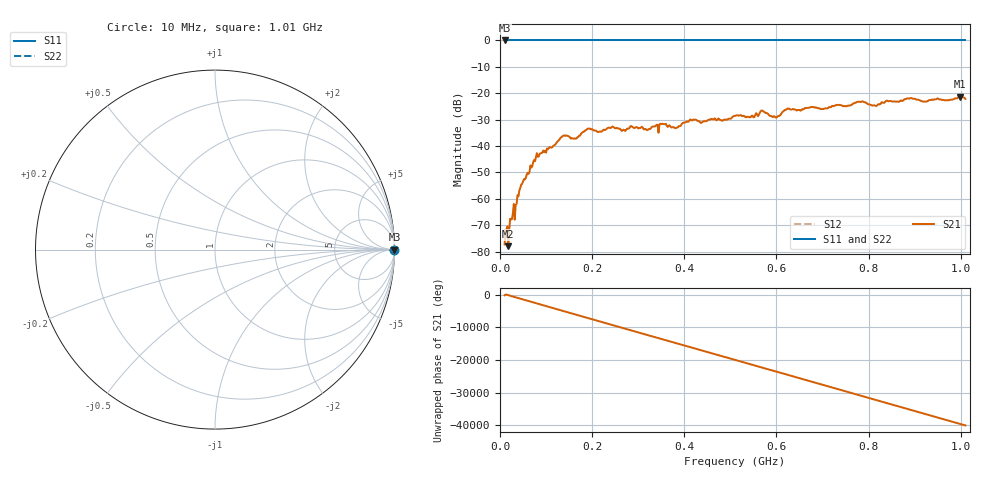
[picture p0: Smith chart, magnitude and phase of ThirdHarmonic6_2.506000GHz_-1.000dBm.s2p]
! 8/17/2025 4:50:29 AM
! C:\ANRITSUVNA\TEMP\TEMP.S2P
! CHANNEL.1
! TR.MEASUREMENT
! RAW.DATA
! RF.CORRECTION.OFF
! AVERAGING.OFF
! IF.BANDWIDTH: 5KHZ
! SWEEPTYPE:  FREQ.SWEEP(Linear)
! Reference Plane Port Info
! PORT:  PORT1  PORT2
! DISTANCE:  0  m  0  m
! TIME:  0  s  0  s
! PHASE.OFFSET:  0  deg.  0  deg.
! LOSS:  0  dB  0  dB
! REF.LOSS:  0  dB  0  dB
! REF.FREQ:  0  Hz  0  Hz
! Power Info
! POWER:  -20  dBm  -20  dBm
! EFF.POWER:  -20  dBm  -20  dBm
! SOURCE.ATTEN:  0  dB  0  dB
! TEST.ATTEN:  0  dB  0  dB
# GHZ S RI R 50.0
! FREQ.GHZ  S11RE  S11IM  S21RE  S21IM  S12RE  S12IM  S22RE  S22IM
!; PortSelection: Port_12
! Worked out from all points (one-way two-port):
!   501 points, 10 MHz to 1.01 GHz, reference 50 ohm
!   highest |S21| = -21.29 dB at 998 MHz (marker M1); lowest = -77.9 dB at 18 MHz (marker M2)
!   lowest |S11| = 0.0 dB at 10 MHz (marker M3)
!   |S11| at or under -10 dB: nowhere
!   |S22| runs from 0.0 to 0.0 dB; largest |S21 - S12| = 1.1
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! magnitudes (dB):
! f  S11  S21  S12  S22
! 10 MHz  0.0  -77.3  0.0  0.0
! 18 MHz  0.0  -77.9  0.0  0.0
! 46 MHz  0.0  -54.6  0.0  0.0
! 76 MHz  0.0  -45.8  0.0  0.0
! 136 MHz  0.0  -36.2  0.0  0.0
! 162 MHz  0.0  -37.1  0.0  0.0
! 178 MHz  0.0  -34.9  0.0  0.0
! 192 MHz  0.0  -33.3  0.0  0.0
! 344 MHz  0.0  -34.9  0.0  0.0
! 382 MHz  0.0  -33.2  0.0  0.0
! 416 MHz  0.0  -30.3  0.0  0.0
! 510 MHz  0.0  -28.6  0.0  0.0
! 548 MHz  0.0  -28.5  0.0  0.0
! 570 MHz  0.0  -26.6  0.0  0.0
! 602 MHz  0.0  -28.9  0.0  0.0
! 622 MHz  0.0  -26.1  0.0  0.0
! 678 MHz  0.0  -25.2  0.0  0.0
! 784 MHz  0.0  -23.3  0.0  0.0
! 814 MHz  0.0  -24.7  0.0  0.0
! 844 MHz  0.0  -23.0  0.0  0.0
! 998 MHz  0.0  -21.3  0.0  0.0
! 1.01 GHz  0.0  -22.1  0.0  0.0
